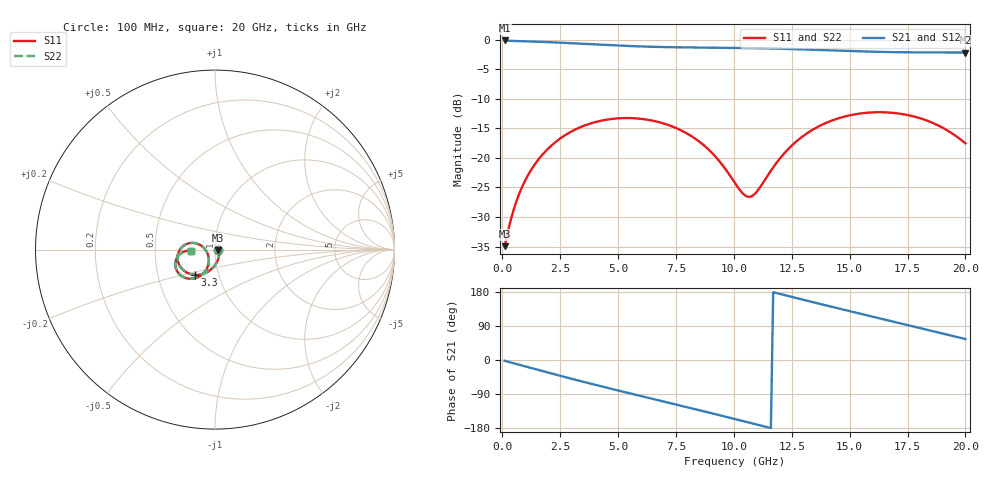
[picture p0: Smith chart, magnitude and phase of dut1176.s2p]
! Touchstone file exported from HFSS 2026.1.0
!  File:  C:/ffzhzh/LocalFiles/Ansys_Project_Files/temp_train_TSV_RDL_1176_1783315245_38704.aedt
!  Generated:  01:28:56 PM Jul  6, 2026
!  Design:  TSV_RDL
!  Project:  temp_train_TSV_RDL_1176_1783315245_38704
! Variables:
!  h_bsmrdl = 4.88um
!  h_ox = 20um
!  h_rdl = 5um
!  h_sub = 82.46um
!  h_tmrdl = 5.56um
!  h_tsv = 82.46um
!  h_via = 3um
!  l_bsmrdl = 517.44um
!  l_sub = 5004.65um
!  l_tmrdl = 727.84um
!  m_sub = 200um
!  pitch = 26.01um
!  r_tsv = 4.59um
!  s_tmrdl = 10um
!  w_bsmrdl = 22.94um
!  w_sub = 500um
!  w_tmrdl = 24.05um
!  x_tsv_center1 = 739.865um
!  x_tsv_center2 = 1280.245um
!  x_tsv_center3 = 2032.135um
!  x_tsv_center4 = 2572.515um
!  x_tsv_center5 = 3324.405um
!  x_tsv_center6 = 3864.785um
# GHz S MA R 50.000000
! Terminal data exported
! Port[1] = TM_RDL1_1_T1
! Port[2] = TM_RDL5_1_T1
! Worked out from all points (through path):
!   200 points, 100 MHz to 20 GHz, reference 50 ohm
!   highest |S21| = -0.16 dB at 100 MHz (marker M1); lowest = -2.2 dB at 20 GHz (marker M2)
!   group delay of S21, straight-line fit = 41.9 ps
!   lowest |S11| = -34.9 dB at 100 MHz (marker M3), VSWR 1.04, Z = 51.8 - j0.23 ohm
!   |S11| at or under -10 dB: start of sweep to end of sweep
!   |S22| runs from -34.9 to -12.3 dB; largest |S21 - S12| = 2.1e-14
!   S11 on the Smith chart (normalised r, x): 100 MHz: 1.04, -0.00; 3.3 GHz: 0.77, -0.22; 20 GHz: 0.77, -0.01
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0.1  0.01791 -7.1  0.9822 -1.9  0.9822 -1.9  0.01791 -7.1
! Gamma 0 0 0 0
! Port Impedance 50 0 50 0
0.4  0.03159 -41.8  0.9737 -7.1  0.9737 -7.1  0.03158 -41.8
0.6  0.04231 -58.0  0.9706 -10.4  0.9706 -10.4  0.0423 -58.0
0.9  0.05923 -73.8  0.9669 -15.4  0.9669 -15.4  0.05922 -73.8
1.3  0.08215 -87.6  0.9618 -22.1  0.9618 -22.1  0.08213 -87.6
2.2  0.131 -108.4  0.9466 -36.8  0.9466 -36.8  0.131 -108.4
3.3  0.179 -128.1  0.9235 -54.4  0.9235 -54.4  0.1789 -128.1
3.5  0.1858 -131.3  0.9191 -57.5  0.9191 -57.5  0.1857 -131.4
5.1  0.2162 -155.6  0.8872 -82.0  0.8872 -82.0  0.2161 -155.6
6.8  0.1994 -178.2  0.8652 -107.1  0.8652 -107.1  0.1993 -178.2
7.8  0.1676 170.5  0.8583 -121.9  0.8583 -121.9  0.1675 170.4
8.6  0.1327 163.7  0.855 -133.8  0.855 -133.8  0.1325 163.6
9.3  0.09757 161.7  0.8527 -144.4  0.8527 -144.4  0.09741 161.6
10.1  0.05917 173.9  0.8497 -156.6  0.8497 -156.6  0.05897 173.8
10.5  0.04786 -166.3  0.8477 -162.7  0.8477 -162.7  0.04764 -166.4
10.8  0.0477 -146.7  0.846 -167.3  0.846 -167.3  0.0475 -146.6
12.2  0.1104 -113.0  0.8341 171.1  0.8341 171.1  0.1103 -112.9
13.4  0.1726 -119.9  0.8198 152.8  0.8198 152.8  0.1725 -120.0
15.1  0.2306 -137.5  0.7982 127.5  0.7982 127.5  0.2305 -137.6
16.7  0.2414 -154.9  0.7834 104.1  0.7834 104.1  0.2412 -155.0
18.4  0.2042 -171.2  0.7774 79.3  0.7774 79.3  0.2039 -171.4
20  0.1326 -177.3  0.7769 55.3  0.7769 55.3  0.132 -177.6
